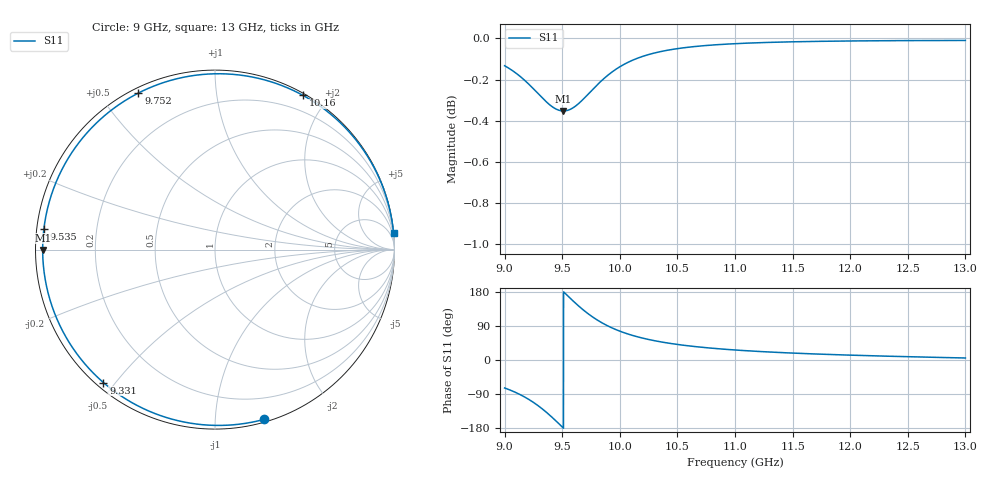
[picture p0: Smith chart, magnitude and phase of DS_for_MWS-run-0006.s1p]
! TOUCHSTONE file generated by CST DESIGN STUDIO
! Date and time: Tue Feb  4 13:37:46 2025
! Project name: C:\Work\MatlabApps\UnitCellOptimizationMatlab\CST\unitcell.cst
! Tree item: Tasks\Sweep1\SPara1\S-Parameters
! Header version: 2024
! Port assignment regex: !\s*Touchstone port\s*([0-9]+)\s*=\s*(CST MWS port|CST DES external port|CST DES block port)\s*(.+)\s* \(\"(.*)\"\)(\s*mode\s*([0-9]+))?.*
! Touchstone port assignment:
! Touchstone port 1 = CST DES external port 1 ("")
# GHz S MA R 50
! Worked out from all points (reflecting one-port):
!   4001 points, 9 GHz to 13 GHz, reference 50 ohm
!   lowest |S11| = -0.4 dB at 9.511 GHz (marker M1), VSWR 49.27, Z = 1.01 - j0.0519 ohm
!   phase of S11 starts at -74 deg and turns -281 deg over the sweep
!   S11 on the Smith chart (normalised r, x): 9 GHz: 0.02, -1.33; 9.331 GHz: 0.02, -0.47; 9.535 GHz: 0.02, +0.06; 9.752 GHz: 0.02, +0.62; 10.16 GHz: 0.02, +1.72; 13 GHz: 0, +22
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9  0.9848 -73.8
9.089  0.9812 -84.7
9.192  0.9758 -100.8
9.265  0.9713 -115.0
9.331  0.967 -130.0
9.377  0.9643 -141.7
9.424  0.962 -154.5
9.463  0.9608 -165.7
9.5  0.9602 -176.6
9.511  0.9602 -179.9
9.535  0.9604 173.0
9.589  0.9617 157.3
9.649  0.9646 140.8
9.7  0.9677 127.9
9.752  0.971 116.1
9.803  0.9743 105.8
9.86  0.9777 95.6
10  0.9842 76.1
10.079  0.987 67.8
10.164  0.9892 60.3
10.317  0.9921 50.0
10.5  0.9943 41.0
10.722  0.9959 33.3
11  0.9971 26.4
11.5  0.9981 18.2
12  0.9986 12.8
12.5  0.9988 8.7
13  0.9989 5.3
